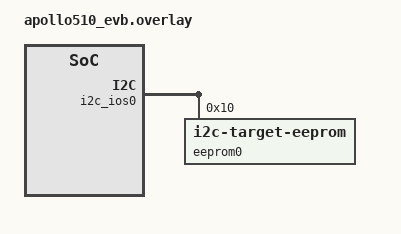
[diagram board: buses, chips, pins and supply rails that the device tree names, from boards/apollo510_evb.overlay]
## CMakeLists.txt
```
# SPDX-License-Identifier: Apache-2.0

cmake_minimum_required(VERSION 3.28.0)

find_package(Zephyr REQUIRED HINTS $ENV{ZEPHYR_BASE})
project(i2c_target)

target_sources(app PRIVATE src/main.c)
```

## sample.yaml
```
sample:
  name: I2C target sample
tests:
  sample.drivers.i2c.target:
    tags: i2c_target
    filter: dt_nodelabel_enabled("target_eeprom")
    platform_allow:
      - lpcxpresso55s69/lpc55s69/cpu0
      - apollo510_evb
    harness: TBD
  sample.drivers.i2c.target.kinetis:
    tags: i2c_target
    filter: dt_nodelabel_enabled("target_eeprom")
    platform_allow:
      - frdm_ke17z
      - frdm_ke17z512
    harness: console
    harness_config:
      type: multi_line
      regex:
        - "i2c target sample"
        - "i2c target driver registered"
        - "i2c target driver unregistered"
```

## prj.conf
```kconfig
CONFIG_I2C=y
CONFIG_I2C_TARGET=y
CONFIG_I2C_EEPROM_TARGET=y
```

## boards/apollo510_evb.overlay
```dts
/*
 * Copyright 2025 Ambiq Micro Inc.
 *
 * SPDX-License-Identifier: Apache-2.0
 */

&ios0 {
	i2c_ios0: i2c {
		compatible = "ambiq,ios-i2c";
		fifo-threshold = <16>;
		pinctrl-0 = <&ios_i2c0_default>;
		pinctrl-names = "default";
		status = "okay";

		eeprom0: eeprom@10 {
			compatible = "zephyr,i2c-target-eeprom";
			reg = <0x10>;
			size = <256>;
			status = "okay";
		};
	};
};

target_eeprom: &eeprom0 {};
```

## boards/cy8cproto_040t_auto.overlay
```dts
/*
 * SPDX-FileCopyrightText: Copyright (c) 2026 Infineon Technologies AG,
 * SPDX-FileCopyrightText: or an affiliate of Infineon Technologies AG. All rights reserved.
 *
 * SPDX-License-Identifier: Apache-2.0
 */

/*
 * scb0 provides the console UART (P2.2/P2.3). This sample routes I2C over scb1
 * on the same P2.2/P2.3 pins, so scb0 must be disabled to avoid a pin conflict.
 * Expect no console/UART output while running this sample.
 */
&scb0 {
	status = "disabled";
};

&scb1 {
	compatible = "infineon,i2c";
	status = "okay";
	clocks = <&peri_clk_div0>;
	pinctrl-0 = <&p2_2_scb1_i2c_scl &p2_3_scb1_i2c_sda>;
	pinctrl-names = "default";
	#address-cells = <1>;
	#size-cells = <0>;

	eeprom0: eeprom@54 {
		compatible = "zephyr,i2c-target-eeprom";
		reg = <0x54>;
		size = <256>;
		status = "okay";
	};
};

&p2_2_scb1_i2c_scl {
	drive-open-drain;
	input-enable;
};

&p2_3_scb1_i2c_sda {
	drive-open-drain;
	input-enable;
};

&peri_clk_div0 {
	status = "okay";
};
```

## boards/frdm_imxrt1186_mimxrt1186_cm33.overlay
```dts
/*
 * Copyright 2026 NXP
 *
 * SPDX-License-Identifier: Apache-2.0
 */

&lpi2c3 {
	eeprom0: eeprom@54 {
		reg = <0x54>;
		size = <256>;
		compatible = "zephyr,i2c-target-eeprom";
		status = "okay";
	};
};

target_eeprom: &eeprom0 {};
```

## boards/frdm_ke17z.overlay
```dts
/*
 * Copyright 2024 NXP
 *
 * SPDX-License-Identifier: Apache-2.0
 */

&lpi2c0 {
	eeprom0: eeprom@54 {
		reg = <0x54>;
		size = <256>;
		compatible = "zephyr,i2c-target-eeprom";
		status = "okay";
	};
};

target_eeprom: &eeprom0 {};
```

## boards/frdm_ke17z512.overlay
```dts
/*
 * Copyright 2024 NXP
 *
 * SPDX-License-Identifier: Apache-2.0
 */

&lpi2c0 {
	eeprom0: eeprom@54 {
		compatible = "zephyr,i2c-target-eeprom";
		reg = <0x54>;
		size = <256>;
		status = "okay";
	};
};

target_eeprom: &eeprom0 {};
```

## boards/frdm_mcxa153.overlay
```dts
/*
 * Copyright 2025 NXP
 *
 * SPDX-License-Identifier: Apache-2.0
 */

&lpi2c0 {
	eeprom0: eeprom@54 {
		compatible = "zephyr,i2c-target-eeprom";
		reg = <0x54>;
		size = <256>;
		status = "okay";
	};
};
```

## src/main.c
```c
/*
 * Copyright (c) 2024 Open Pixel Systems
 *
 * SPDX-License-Identifier: Apache-2.0
 */

#include <zephyr/kernel.h>
#include <zephyr/sys/printk.h>
#include <zephyr/drivers/i2c.h>
#include <zephyr/drivers/i2c/target/eeprom.h>

static const struct device *eeprom = DEVICE_DT_GET(DT_NODELABEL(eeprom0));

static void on_changed(const struct device *dev, void *user_data)
{
	unsigned int size;

	size = eeprom_target_get_size(dev);

	printk("Eeprom changed, now contains:\n");
	for (unsigned int i = 0; i < size; i++) {
		uint8_t data;
		char sep = i % 16 == 15 ? '\n' : ' ';

		eeprom_target_read_data(dev, i, &data, sizeof(data));

		printk("%02x%c", data, sep);
	}
	printk("\n");
}

int main(void)
{
	printk("i2c target sample\n");

	if (!device_is_ready(eeprom)) {
		printk("eeprom device not ready\n");
		return 0;
	}

	eeprom_target_set_changed_callback(eeprom, on_changed, NULL);

	if (i2c_target_driver_register(eeprom) < 0) {
		printk("Failed to register i2c target driver\n");
		return 0;
	}

	printk("i2c target driver registered\n");

	return 0;
}
```
